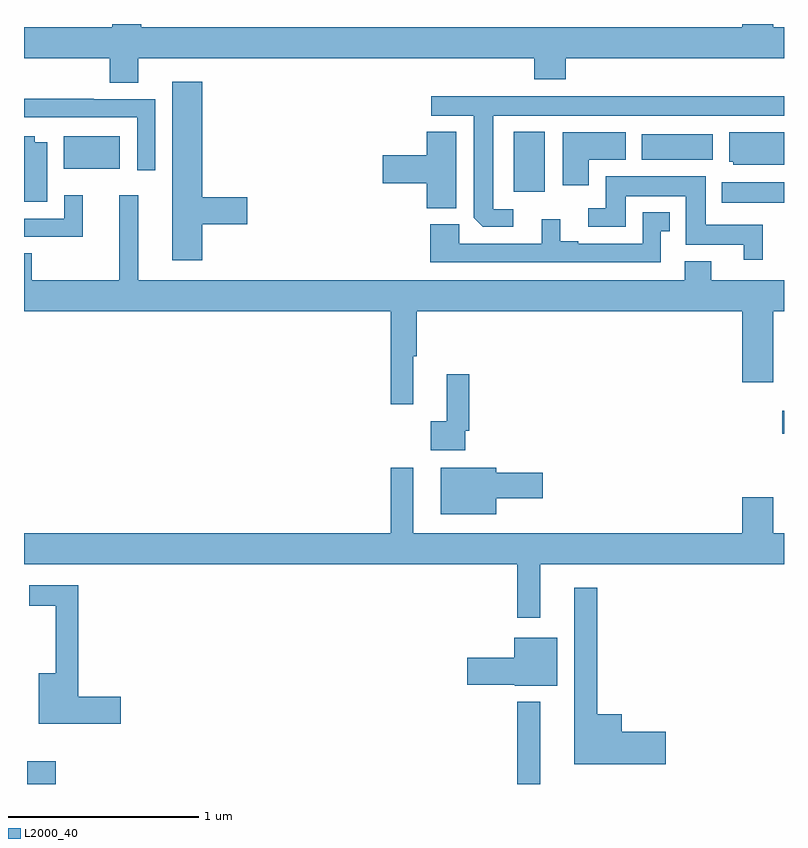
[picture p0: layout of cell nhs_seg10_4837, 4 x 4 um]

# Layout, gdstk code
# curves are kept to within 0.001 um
import gdstk
lib = gdstk.Library(unit=1e-6, precision=1e-09)
def R(c, l, rs):  # rectangles x0, y0, x1, y1
    for r in rs: c.add(gdstk.rectangle(r[:2], r[2:], *l))
def P(c, l, *ps):  # polygons
    for p in ps: c.add(gdstk.Polygon(p, *l))
L2000_40 = (2000, 40)

nhs_seg10_4837 = lib.new_cell('nhs_seg10_4837')
R(nhs_seg10_4837, L2000_40, [(389.016,1292.5,389.168,1292.62), (391.596,1292.5,391.717,1292.932), (392.991,1294.343,393,1294.465), (392.672,1295.558,393,1295.668), (391.577,1295.616,391.741,1295.932), (389.21,1295.738,389.503,1295.908), (392.252,1295.786,392.626,1295.92)])
P(nhs_seg10_4837, L2000_40, [(389.602,1296.32),(391.685,1296.32),(391.685,1296.209),(391.85,1296.209),(391.85,1296.32),(393,1296.32),(393,1296.484),(392.944,1296.484),(392.944,1296.5),(392.78,1296.5),(392.78,1296.484),(389.617,1296.484),(389.617,1296.5),(389.465,1296.5),(389.465,1296.484),(389,1296.484),(389,1296.32),(389.45,1296.32),(389.45,1296.19),(389.602,1296.19)],
  [(389.939,1295.446),(390.175,1295.446),(390.175,1295.588),(389.939,1295.588),(389.939,1296.196),(389.78,1296.196),(389.78,1295.256),(389.939,1295.256)],
  [(391.576,1295.526),(391.471,1295.526),(391.471,1296.017),(393,1296.017),(393,1296.121),(391.143,1296.121),(391.143,1296.017),(391.367,1296.017),(391.368,1295.479),(391.414,1295.433),(391.576,1295.433)],
  [(389.691,1296.105),(389.366,1296.105),(389.366,1296.107),(389,1296.107),(389,1296.009),(389.595,1296.009),(389.595,1295.73),(389.691,1295.73)],
  [(391.276,1295.932),(391.121,1295.932),(391.121,1295.81),(390.888,1295.81),(390.888,1295.663),(391.121,1295.663),(391.121,1295.531),(391.276,1295.531)],
  [(393,1295.929),(392.711,1295.929),(392.711,1295.775),(392.733,1295.775),(392.733,1295.759),(393,1295.759)],
  [(391.972,1295.786),(392.167,1295.786),(392.167,1295.929),(391.835,1295.929),(391.835,1295.652),(391.972,1295.652)],
  [(389.122,1295.878),(389.056,1295.878),(389.056,1295.908),(389,1295.908),(389,1295.564),(389.122,1295.564)],
  [(392.888,1295.443),(392.587,1295.443),(392.587,1295.698),(392.063,1295.698),(392.063,1295.529),(391.971,1295.529),(391.971,1295.433),(392.167,1295.433),(392.167,1295.594),(392.483,1295.594),(392.483,1295.339),(392.789,1295.339),(392.789,1295.259),(392.888,1295.259)],
  [(389.309,1295.599),(389.211,1295.599),(389.211,1295.475),(389,1295.475),(389,1295.379),(389.309,1295.379)],
  [(391.049,1294.752),(391.067,1294.752),(391.067,1294.988),(392.78,1294.988),(392.78,1294.614),(392.944,1294.614),(392.944,1294.988),(393,1294.988),(393,1295.152),(392.617,1295.152),(392.617,1295.251),(392.477,1295.251),(392.477,1295.152),(389.6,1295.152),(389.6,1295.599),(389.501,1295.599),(389.501,1295.152),(389.04,1295.152),(389.04,1295.294),(389,1295.294),(389,1294.988),(390.931,1294.988),(390.931,1294.5),(391.049,1294.5)],
  [(392.352,1295.409),(392.398,1295.409),(392.398,1295.509),(392.256,1295.509),(392.256,1295.343),(391.918,1295.343),(391.918,1295.356),(391.822,1295.356),(391.822,1295.473),(391.724,1295.473),(391.724,1295.343),(391.29,1295.343),(391.29,1295.446),(391.139,1295.446),(391.139,1295.247),(392.352,1295.247)],
  [(391.323,1294.36),(391.343,1294.36),(391.343,1294.657),(391.226,1294.657),(391.226,1294.409),(391.14,1294.409),(391.14,1294.256),(391.323,1294.256)],
  [(391.717,1293.656),(393,1293.656),(393,1293.82),(392.944,1293.82),(392.944,1294.009),(392.78,1294.009),(392.78,1293.82),(391.048,1293.82),(391.048,1294.165),(390.931,1294.165),(390.931,1293.82),(389,1293.82),(389,1293.656),(391.596,1293.656),(391.596,1293.375),(391.717,1293.375)],
  [(391.486,1294.004),(391.729,1294.004),(391.729,1294.139),(391.486,1294.139),(391.486,1294.165),(391.193,1294.165),(391.193,1293.92),(391.486,1293.92)],
  [(389.509,1292.96),(389.285,1292.96),(389.285,1293.546),(389.028,1293.546),(389.028,1293.438),(389.168,1293.438),(389.168,1293.082),(389.078,1293.082),(389.078,1292.818),(389.509,1292.818)],
  [(392.377,1292.774),(392.146,1292.774),(392.146,1292.866),(392.017,1292.866),(392.017,1293.532),(391.895,1293.532),(391.895,1292.603),(392.377,1292.603)],
  [(391.807,1293.271),(391.58,1293.271),(391.58,1293.165),(391.332,1293.165),(391.332,1293.023),(391.584,1293.023),(391.584,1293.017),(391.807,1293.017)])

lib.write_gds('nhs_seg10_4837.gds')
